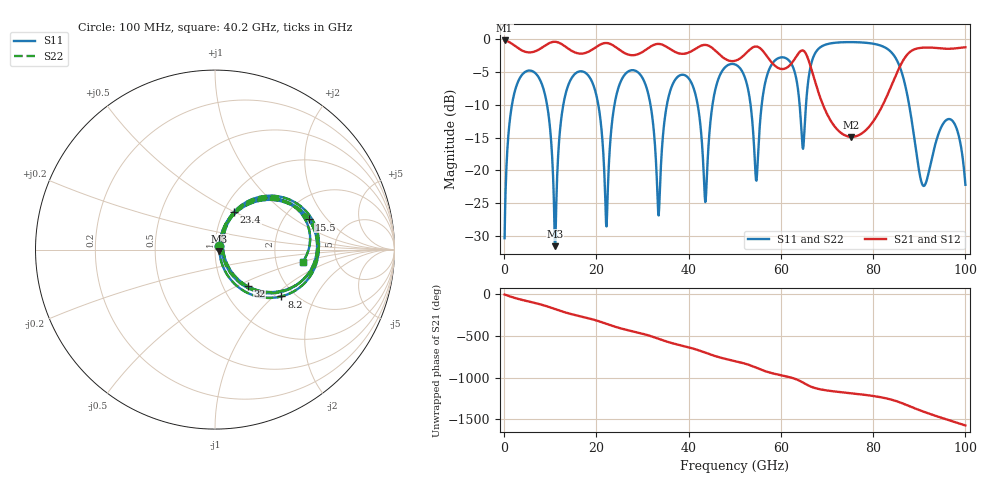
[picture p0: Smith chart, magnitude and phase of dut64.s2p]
! Touchstone file exported from HFSS 2026.1.0
!  File:  C:/ffzhzh/LocalFiles/Ansys_Project_Files/temp_train_TSV_RDL_64_1783624870_33328.aedt
!  Generated:  03:57:21 AM Jul 10, 2026
!  Design:  TSV_RDL
!  Project:  temp_train_TSV_RDL_64_1783624870_33328
! Variables:
!  h_bsmrdl = 3.4um
!  h_ox = 20um
!  h_rdl = 5um
!  h_sub = 96.69um
!  h_tmrdl = 4.12um
!  h_tsv = 96.69um
!  h_via = 3um
!  l_bsmrdl = 691.65um
!  l_sub = 5248.76um
!  l_tmrdl = 660.52um
!  m_sub = 200um
!  pitch = 59.77um
!  r_tsv = 11.59um
!  s_tmrdl = 10um
!  w_bsmrdl = 21.77um
!  w_sub = 500um
!  w_tmrdl = 22.14um
!  x_tsv_center1 = 671.59um
!  x_tsv_center2 = 1385.01um
!  x_tsv_center3 = 2067.67um
!  x_tsv_center4 = 2781.09um
!  x_tsv_center5 = 3463.75um
!  x_tsv_center6 = 4177.17um
# GHz S MA R 50.000000
! Terminal data exported
! Port[1] = TM_RDL1_1_T1
! Port[2] = TM_RDL5_1_T1
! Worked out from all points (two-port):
!   1000 points, 100 MHz to 100 GHz, reference 50 ohm
!   highest |S21| = -0.19 dB at 100 MHz (marker M1); lowest = -14.9 dB at 75.3 GHz (marker M2)
!   |S21| within 3 dB of the highest: start of sweep to 48.42 GHz; 86.54 GHz to end of sweep (the widest 2 of 4)
!   lowest |S11| = -31.6 dB at 11 GHz (marker M3), VSWR 1.05, Z = 52.6 - j0.888 ohm
!   |S11| at or under -10 dB: 9.299 GHz to 12.82 GHz (3.524 GHz wide, 31.9 % of centre); 20.41 GHz to 23.92 GHz (3.501 GHz wide, 15.8 % of centre); 87.8 GHz to end of sweep (the widest 3 of 8)
!   |S22| runs from -31.6 to -0.4 dB; largest |S21 - S12| = 3.1e-13
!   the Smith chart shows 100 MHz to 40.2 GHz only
!   S11 on the Smith chart (normalised r, x): 100 MHz: 1.04, +0.04; 8.2 GHz: 1.71, -1.12; 15.5 GHz: 2.73, +1.32; 23.4 GHz: 1.12, +0.50; 32 GHz: 1.30, -0.58; 40.2 GHz: 2.83, -0.52
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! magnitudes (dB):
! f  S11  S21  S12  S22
! 100 MHz  -30.4  -0.2  -0.2  -30.4
! 2.5 GHz  -7.5  -1.1  -1.1  -7.5
! 8.2 GHz  -6.9  -1.3  -1.3  -6.9
! 11 GHz  -31.6  -0.4  -0.4  -31.6
! 15.5 GHz  -5.2  -2.1  -2.1  -5.2
! 16.8 GHz  -4.9  -2.2  -2.2  -4.9
! 22.1 GHz  -28.2  -0.6  -0.6  -28.1
! 23.4 GHz  -12.6  -0.8  -0.8  -12.6
! 32 GHz  -11.2  -1.0  -1.0  -11.2
! 33.4 GHz  -26.5  -0.7  -0.7  -26.5
! 40.2 GHz  -6.1  -2.0  -2.0  -6.2
! 43.6 GHz  -24.8  -0.9  -0.9  -24.9
! 50.1 GHz  -3.9  -3.3  -3.3  -3.9
! 54.7 GHz  -21.6  -1.1  -1.1  -21.6
! 57.9 GHz  -4.0  -3.4  -3.4  -4.0
! 64.8 GHz  -16.7  -1.7  -1.7  -16.7
! 66.7 GHz  -3.4  -4.8  -4.8  -3.4
! 75.3 GHz  -0.4  -14.9  -14.9  -0.4
! 83.4 GHz  -1.6  -8.0  -8.0  -1.6
! 90.7 GHz  -22.2  -1.3  -1.3  -22.2
! 96.3 GHz  -12.2  -1.5  -1.5  -12.2
! 100 GHz  -22.2  -1.2  -1.2  -22.2
